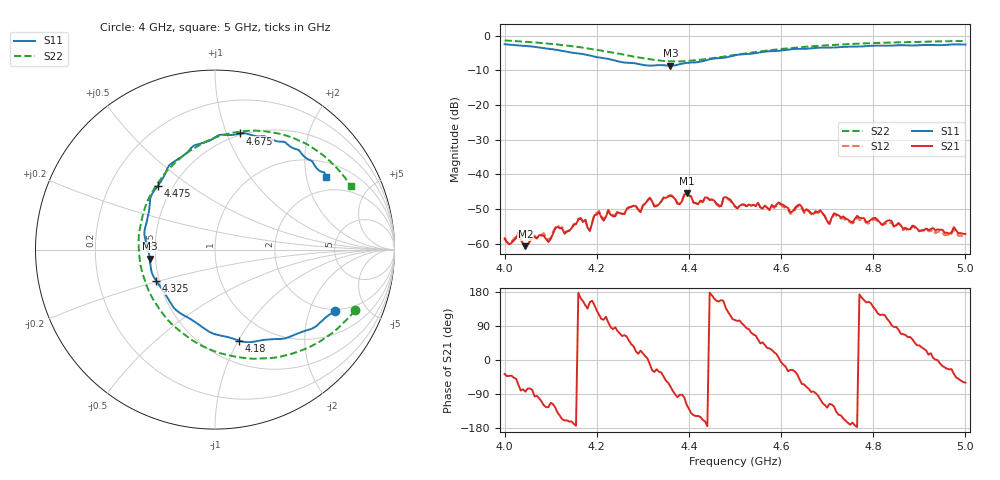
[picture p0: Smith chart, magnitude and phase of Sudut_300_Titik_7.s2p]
# Hz S RI R 50
! CMT, C1220, 16058040, 17.2.0/1
! Date: 15/08/2018 12:05:34
! Data: Format (Calibration Info)
! Freq  S11: Re/Im (F2)  S21: Re/Im (F2)  S12: Re/Im (F2)  S22: Re/Im (F2)
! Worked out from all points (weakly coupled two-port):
!   201 points, 4 GHz to 5 GHz, reference 50 ohm
!   highest |S21| = -45.39 dB at 4.395 GHz (marker M1); lowest = -60.8 dB at 4.045 GHz (marker M2)
!   lowest |S11| = -8.7 dB at 4.36 GHz (marker M3), VSWR 2.16, Z = 23.2 - j2.76 ohm
!   |S11| at or under -10 dB: nowhere
!   |S22| runs from -7.5 to -1.4 dB; largest |S21 - S12| = 0.00024
!   S11 on the Smith chart (normalised r, x): 4 GHz: 1.92, -3.00; 4.18 GHz: 0.72, -1.01; 4.325 GHz: 0.48, -0.20; 4.475 GHz: 0.41, +0.38; 4.675 GHz: 0.48, +1.12; 5 GHz: 1.46, +2.62
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4e9  0.6667 -0.3428  0.000931 -0.000699  0.00104 -0.000686  0.7783 -0.3389
4.03e9  0.6047 -0.389  0.000585 -0.00129  0.000614 -0.00131  0.7203 -0.4037
4.045e9  0.5704 -0.4209  9.97e-05 -0.00091  0.000176 -0.000937  0.6873 -0.436
4.17e9  0.1656 -0.5146  -0.00185 0.000846  -0.00197 0.000804  0.281 -0.6057
4.18e9  0.1334 -0.5067  -0.00121 0.00118  -0.00127 0.00116  0.2402 -0.607
4.205e9  0.0408 -0.481  -0.0014 0.00245  -0.00152 0.00251  0.1318 -0.5994
4.215e9  0.00252 -0.4721  -0.000603 0.00204  -0.000663 0.00214  0.0874 -0.5913
4.315e9  -0.3016 -0.2109  0.00446 -0.000832  0.00449 -0.000848  -0.3093 -0.3322
4.325e9  -0.3268 -0.175  0.00292 -0.0018  0.00293 -0.00181  -0.337 -0.2897
4.335e9  -0.3459 -0.143  0.00315 -0.00191  0.00319 -0.00196  -0.3623 -0.2436
4.36e9  -0.3636 -0.0513  0.00163 -0.00459  0.00168 -0.00472  -0.4068 -0.1211
4.38e9  -0.3829 0.0383  -0.000132 -0.00367  -0.000174 -0.00379  -0.4225 -0.0218
4.395e9  -0.3935 0.0879  -0.00249 -0.00477  -0.00269 -0.00482  -0.4255 0.0537
4.42e9  -0.376 0.1741  -0.00311 -0.00197  -0.00318 -0.00185  -0.4065 0.1731
4.475e9  -0.3174 0.3568  -0.00418 0.00192  -0.00402 0.0019  -0.3037 0.3915
4.5e9  -0.2692 0.4425  -0.00093 0.00335  -0.000881 0.00326  -0.2398 0.4672
4.67e9  0.1301 0.6447  0.000325 -0.00265  0.000337 -0.00256  0.2351 0.6624
4.675e9  0.1407 0.6474  0.000131 -0.00293  0.000177 -0.00283  0.2479 0.6618
4.705e9  0.1971 0.6397  -0.000843 -0.00175  -0.000852 -0.0017  0.3226 0.6523
4.715e9  0.224 0.6327  -0.00147 -0.00229  -0.00153 -0.00216  0.3468 0.6485
4.835e9  0.4356 0.565  -0.000444 0.00212  -0.000466 0.00192  0.5722 0.5481
5e9  0.6196 0.4055  0.000689 -0.00119  0.000707 -0.00111  0.7572 0.3524
